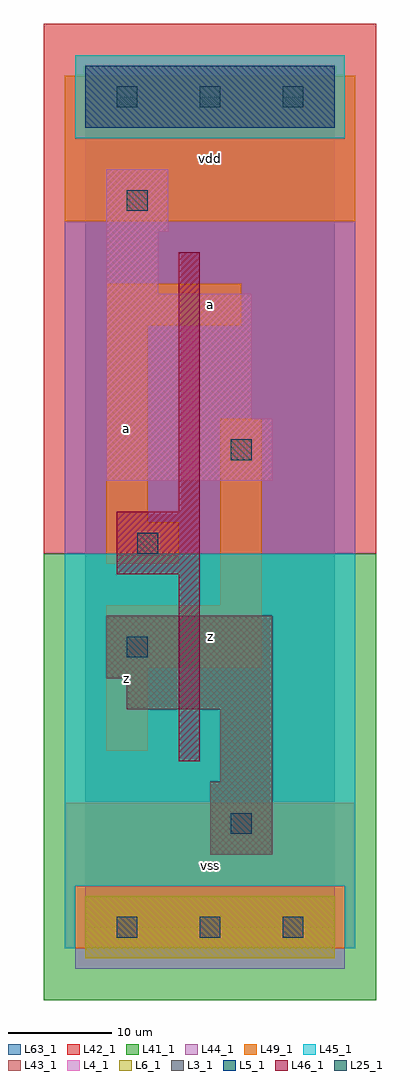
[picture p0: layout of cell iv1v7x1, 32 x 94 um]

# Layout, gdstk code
import gdstk
lib = gdstk.Library(unit=1e-6, precision=1e-09)
def R(c, l, rs):  # rectangles x0, y0, x1, y1
    for r in rs: c.add(gdstk.rectangle(r[:2], r[2:], *l))
def A(c, l, x, y, w, h, nx, ny, dx, dy):  # array of equal rectangles
    R(c, l, [(x+i*dx, y+j*dy, x+i*dx+w, y+j*dy+h) for i in range(nx) for j in range(ny)])
L3_1 = (3, 1)
L4_1 = (4, 1)
L5_1 = (5, 1)
L6_1 = (6, 1)
L25_1 = (25, 1)
L41_1 = (41, 1)
L42_1 = (42, 1)
L43_1 = (43, 1)
L44_1 = (44, 1)
L45_1 = (45, 1)
L46_1 = (46, 1)
L49_1 = (49, 1)
L63_1 = (63, 1)

iv1v7x1 = lib.new_cell('iv1v7x1')
R(iv1v7x1, L3_1, [(12,7,18,14), (13,14,18,21), (4,21,18,24), (2,24,18,30)])
R(iv1v7x1, L4_1, [(2,43,18,49), (2,49,16,61), (2,61,7,67), (2,67,8,73)])
R(iv1v7x1, L5_1, [(0,77,24,83)])
R(iv1v7x1, L6_1, [(0,-3,24,3), (0,-3,24,3)])
A(iv1v7x1, L25_1, 3, -1, 2, 2, 3, 2, 8, 80)
R(iv1v7x1, L25_1, [(14,9,16,11), (4,26,6,28), (5,36,7,38), (14,45,16,47), (4,69,6,71)])
R(iv1v7x1, L41_1, [(-4,-7,28,36)])
R(iv1v7x1, L42_1, [(-4,36,28,87)])
R(iv1v7x1, L43_1, [(0,-3,24,3), (12,7,18,14), (13,14,18,21), (4,21,18,24), (2,24,18,30), (2,43,18,49), (2,49,16,61), (2,61,7,67), (2,67,8,73), (0,77,24,83)])
R(iv1v7x1, L44_1, [(-1,-4,25,4), (-2,36,26,76), (-2,76,-1,82), (25,76,26,82)])
R(iv1v7x1, L45_1, [(-2,-2,-1,4), (25,-2,26,4), (-2,4,26,36), (-1,76,25,84)])
R(iv1v7x1, L46_1, [(9,16,11,34), (3,34,11,40), (9,40,11,65)])
R(iv1v7x1, L49_1, [(-2,-2,26,12), (2,17,6,25), (2,25,17,31), (13,31,17,49), (2,35,9,39), (2,39,6,58), (2,58,15,62), (-2,68,26,82)])
R(iv1v7x1, L63_1, [(0,0,24,80)])
iv1v7x1.add(gdstk.Label('z', (4,24), layer=49, texttype=1))
iv1v7x1.add(gdstk.Label('a', (4,48), layer=49, texttype=1))
iv1v7x1.add(gdstk.Label('vss', (12,6), layer=49, texttype=1))
iv1v7x1.add(gdstk.Label('z', (12,28), layer=49, texttype=1))
iv1v7x1.add(gdstk.Label('a', (12,60), layer=49, texttype=1))
iv1v7x1.add(gdstk.Label('vdd', (12,74), layer=49, texttype=1))

lib.write_gds('iv1v7x1.gds')
